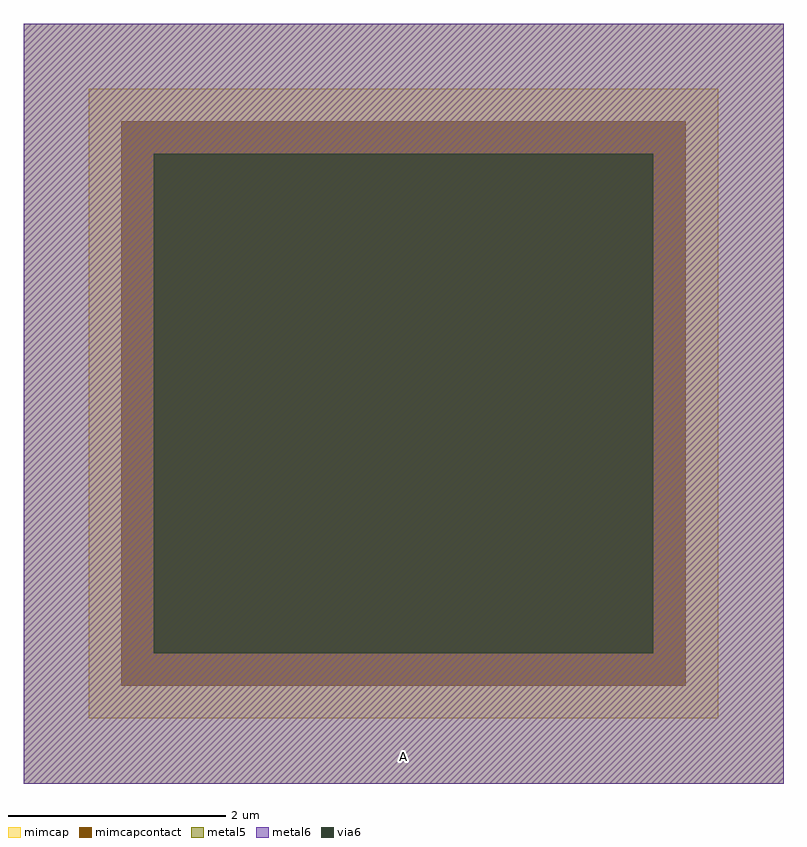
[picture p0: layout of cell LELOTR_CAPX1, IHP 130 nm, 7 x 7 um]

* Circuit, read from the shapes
.subckt LELOTR_CAPX1 B A
XC1 A B cap_cmim w=5.8u l=5.8u
.ends

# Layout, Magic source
magic
tech ihp-sg13g2
magscale 1 2
<< metal6 >>
rect 0 0 1400 100
rect 0 0 1400 100
rect 0 0 1400 1400
<< metal5 >>
rect 0 0 1400 100
rect 0 0 1400 100
rect 0 0 1400 1400
<< via6 >>
rect 240 240 1160 1160
<< mimcap >>
rect 120 120 1280 1280
<< mimcapcontact >>
rect 180 180 1220 1220
<< labels >>
flabel metal6 s 0 0 1400 100 0 FreeSans 400 0 0 0 A
port 2 nsew signal bidirectional
flabel metal5 s 0 0 1400 100 0 FreeSans 400 0 0 0 B
port 1 nsew signal bidirectional
<< properties >>
string FIXED_BBOX 0 0 1400 1400
<< end >>
